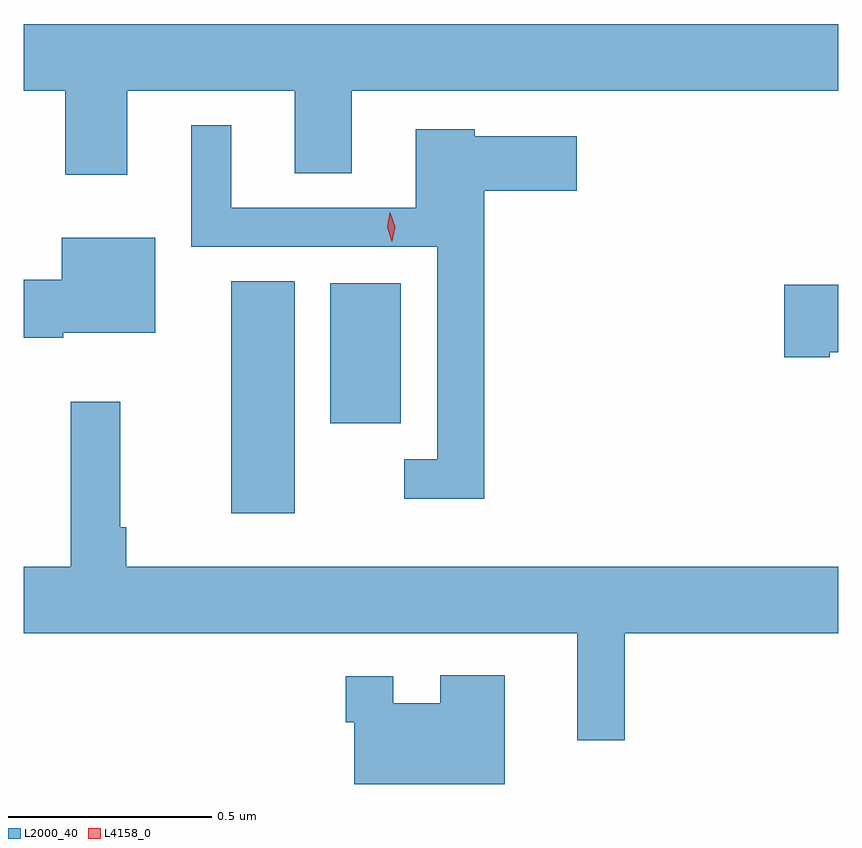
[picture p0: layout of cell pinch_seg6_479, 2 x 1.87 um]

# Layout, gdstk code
import gdstk
lib = gdstk.Library(unit=1e-6, precision=1e-09)
def R(c, l, rs):  # rectangles x0, y0, x1, y1
    for r in rs: c.add(gdstk.rectangle(r[:2], r[2:], *l))
def P(c, l, *ps):  # polygons
    for p in ps: c.add(gdstk.Polygon(p, *l))
L2000_40 = (2000, 40)
L4158_0 = (4158, 0)

pinch_seg6_479 = lib.new_cell('pinch_seg6_479')
R(pinch_seg6_479, L2000_40, [(789.593,916.995,789.748,917.564), (789.836,917.216,790.009,917.56)])
P(pinch_seg6_479, L2000_40, [(789.337,918.032),(789.749,918.032),(789.749,917.83),(789.889,917.83),(789.889,918.032),(791.083,918.032),(791.083,918.196),(789.083,918.196),(789.083,918.032),(789.185,918.032),(789.185,917.826),(789.337,917.826)],
  [(790.214,917.786),(790.441,917.786),(790.441,917.92),(790.191,917.92),(790.191,917.938),(790.046,917.938),(790.046,917.745),(789.592,917.745),(789.592,917.947),(789.494,917.947),(789.494,917.649),(790.098,917.649),(790.098,917.127),(790.017,917.127),(790.017,917.03),(790.214,917.03)],
  [(789.18,917.438),(789.406,917.438),(789.406,917.671),(789.176,917.671),(789.176,917.568),(789.083,917.568),(789.083,917.426),(789.18,917.426)],
  [(791.062,917.39),(791.083,917.39),(791.083,917.556),(790.95,917.556),(790.95,917.378),(791.062,917.378)],
  [(790.559,916.7),(791.083,916.7),(791.083,916.864),(789.335,916.864),(789.335,916.96),(789.32,916.96),(789.32,917.269),(789.199,917.269),(789.199,916.864),(789.083,916.864),(789.083,916.7),(790.442,916.7),(790.442,916.437),(790.559,916.437)],
  [(790.264,916.597),(790.106,916.597),(790.106,916.528),(789.99,916.528),(789.99,916.594),(789.874,916.594),(789.874,916.481),(789.894,916.481),(789.894,916.33),(790.264,916.33)])
P(pinch_seg6_479, L4158_0, [(789.987,917.661),(789.987,917.662),(789.975,917.697),(789.982,917.733),(789.982,917.734),(789.983,917.733),(789.995,917.698),(789.988,917.662)])

lib.write_gds('pinch_seg6_479.gds')
